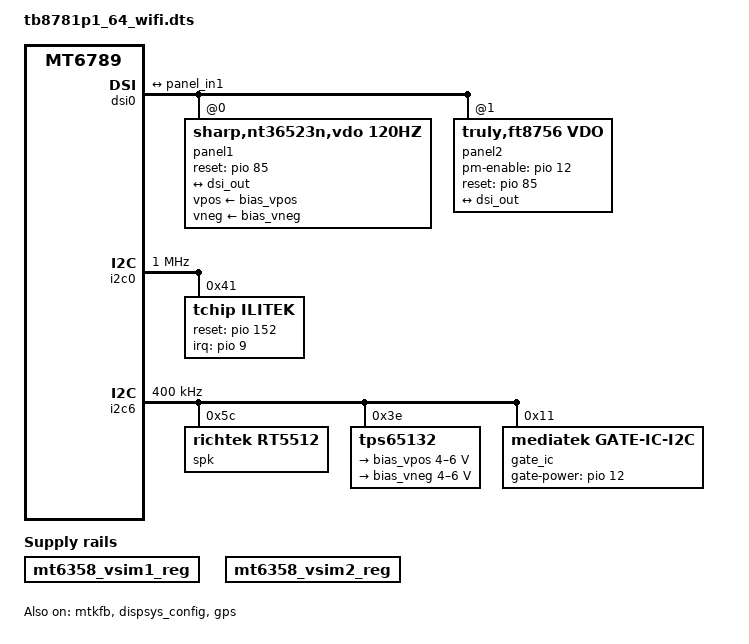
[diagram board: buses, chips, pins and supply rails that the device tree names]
// SPDX-License-Identifier: (GPL-2.0 OR MIT)
/*
 * Copyright (C) 2021 MediaTek Inc.
 */
/dts-v1/;
/plugin/;
#include <dt-bindings/interrupt-controller/arm-gic.h>
#include <dt-bindings/interrupt-controller/irq.h>
#include <dt-bindings/pinctrl/mt6789-pinfunc.h>
#include "mediatek/cust_mt6789_camera.dtsi"
#define ROOT_NODE &odm

ROOT_NODE {
};


&chosen {
};

&android {
	hardware = "mt8781";
};

&soc {
	mtk_leds {
		backlight {
			label = "lcd-backlight";
			max-brightness = <255>;
			max-hw-brightness = <2047>;
		};
	};
};

&pio {
	mtkfb_pins_lcm_led_en1: lcm_led_en1_gpio {
		pins_cmd_dat {
			pinmux = <PINMUX_GPIO12__FUNC_GPIO12>;
			slew-rate = <1>;
			output-high;
		};
	};

	mtkfb_pins_lcm_led_en0: lcm_led_en0_gpio {
		pins_cmd_dat {
			pinmux = <PINMUX_GPIO12__FUNC_GPIO12>;
			slew-rate = <1>;
			output-low;
		};
	};

	mtkfb_pins_lcm_rst_out1_gpio: lcm_rst_out1_gpio {
		pins_cmd_dat {
			pinmux = <PINMUX_GPIO85__FUNC_GPIO85>;
			slew-rate = <1>;
			output-high;
		};
	};

	mtkfb_pins_lcm_rst_out0_gpio: lcm_rst_out0_gpio {
		pins_cmd_dat {
			pinmux = <PINMUX_GPIO85__FUNC_GPIO85>;
			slew-rate = <1>;
			output-low;
		};
	};
	mtkfb_pins_lcm_dsi_te: lcm_dsi_te {
		pins_cmd_dat {
			pinmux = <PINMUX_GPIO83__FUNC_DSI_TE>;
		};
	};
};

&mtkfb {
	pinctrl-names = "lcm_led_en1_gpio", "lcm_led_en0_gpio",
		"lcm_rst_out1_gpio", "lcm_rst_out0_gpio",
		"mode_te_te";
	pinctrl-0 = <&mtkfb_pins_lcm_led_en1>;
	pinctrl-1 = <&mtkfb_pins_lcm_led_en0>;
	pinctrl-2 = <&mtkfb_pins_lcm_rst_out1_gpio>;
	pinctrl-3 = <&mtkfb_pins_lcm_rst_out0_gpio>;
	pinctrl-4 = <&mtkfb_pins_lcm_dsi_te>;
	status = "okay";
};

&dispsys_config {
	pinctrl-names =
		"lcm_rst_out1_gpio", "lcm_rst_out0_gpio",
		"mode_te_te";
	pinctrl-0 = <&mtkfb_pins_lcm_rst_out1_gpio>;
	pinctrl-1 = <&mtkfb_pins_lcm_rst_out0_gpio>;
	pinctrl-2 = <&mtkfb_pins_lcm_dsi_te>;
	status = "okay";
};

&dsi0 {
	status = "okay";
	#address-cells = <1>;
	#size-cells = <0>;
	panel1@0 {
		compatible = "sharp,nt36523n,vdo,120hz";
		reg = <0>;
		// vddi-supply = <&mt6358_vrf18_reg>;
		reset-gpios = <&pio 85 0>;
		vpos-supply = <&bias_vpos>;
		vneg-supply = <&bias_vneg>;
		port {
			panel_in1: endpoint {
				remote-endpoint = <&dsi_out>;
			};
		};
	};
	panel2@0 {
		compatible = "truly,ft8756,vdo";
		reg = <1>;
		pm-enable-gpios = <&pio 12 0>;
		reset-gpios = <&pio 85 0>;
		gate-ic = <4831>;
		pinctrl-names = "default";
		port {
			panel_in2: endpoint {
				remote-endpoint = <&dsi_out>;
			};
		};
	};
	ports {
		port {
			dsi_out: endpoint {
				remote-endpoint = <&panel_in1>;
			};
		};
	};
};

/* GPS GPIO standardization start */
&pio {
	gps_pins_default: gps_default {
	};
	gps_l1_lna_pins_ol: gps_l1_lna@0 {
		pins_cmd_dat {
			pinmux = <PINMUX_GPIO25__FUNC_GPIO25>;
			output-low;
		};
	};
	gps_l1_lna_pins_dsp_ctrl: gps_l1_lna@1 {
		pins_cmd_dat {
			pinmux = <PINMUX_GPIO25__FUNC_GPS_L1_ELNA_EN>;
		};
	};
	gps_l1_lna_pins_oh: gps_l1_lna@2 {
		pins_cmd_dat {
			pinmux = <PINMUX_GPIO25__FUNC_GPIO25>;
			output-high;
		};
	};
	gps_l5_lna_pins_ol: gps_l5_lna@0 {
		pins_cmd_dat {
			pinmux = <PINMUX_GPIO26__FUNC_GPIO26>;
			output-low;
		};
	};
	gps_l5_lna_pins_dsp_ctrl: gps_l5_lna@1 {
		pins_cmd_dat {
			pinmux = <PINMUX_GPIO26__FUNC_GPS_L5_ELNA_EN>;
		};
	};
	gps_l5_lna_pins_oh: gps_l5_lna@2 {
		pins_cmd_dat {
			pinmux = <PINMUX_GPIO26__FUNC_GPIO26>;
			output-high;
		};
	};
};
&gps {
	pinctrl-names = "default",
		"gps_l1_lna_disable",
		"gps_l1_lna_dsp_ctrl",
		"gps_l1_lna_enable",
		"gps_l5_lna_disable",
		"gps_l5_lna_dsp_ctrl",
		"gps_l5_lna_enable";
	pinctrl-0 = <&gps_pins_default>;
	pinctrl-1 = <&gps_l1_lna_pins_ol>;
	pinctrl-2 = <&gps_l1_lna_pins_dsp_ctrl>;
	pinctrl-3 = <&gps_l1_lna_pins_oh>;
	pinctrl-4 = <&gps_l5_lna_pins_ol>;
	pinctrl-5 = <&gps_l5_lna_pins_dsp_ctrl>;
	pinctrl-6 = <&gps_l5_lna_pins_oh>;
	status = "okay";
};
/* GPS GPIO standardization end */

#include "mediatek/cust_mt6789_touch_1080x2400.dtsi"
#include "mediatek/cust_mt6789_camera_v4l2.dtsi"

&pio {
	i2c0_default: i2c0_default {
		/* MUST check this I2C bus schematics design the setup the below configurations */
		pins_cmd_dat {
			pinmux = <PINMUX_GPIO130__FUNC_SCL0>,
				<PINMUX_GPIO131__FUNC_SDA0>;
			// bias-pull-up = <MTK_PUPD_SET_R1R0_11>; /* 0x0=>75k 0x1=>5k 0x2=>15k 0x3=>1k */
			//drive-strength = <MTK_DRIVE_2mA>;
			input-enable;
		};
	};
	i2c0_idle: i2c0_idle {
		/* MUST check this I2C bus schematics design the setup the below configurations */
		pins_cmd_dat {
			pinmux = <PINMUX_GPIO130__FUNC_SCL0>,
				<PINMUX_GPIO131__FUNC_SDA0>;
			// bias-pull-up = <MTK_PUPD_SET_R1R0_00>; /* 0x0=>75k 0x1=>5k 0x2=>15k 0x3=>1k */
		};
	};
	ilitek_pins_default: ilitek_default {
		pins_irq {
			pinmux = <PINMUX_GPIO9__FUNC_GPIO9>;
			bias-pull-up;
			input-enable;
		};
		pins_rst {
			pinmux = <PINMUX_GPIO152__FUNC_GPIO152>;
			output-low;
		};
	};
};

&i2c0 {
	status = "okay";
	// clock-frequency = <400000>;
	clock-frequency = <1000000>;
	pinctrl-names = "default", "idle";
	pinctrl-0 = <&i2c0_default>;
	pinctrl-1 = <&i2c0_idle>;
	// ili2910 reference design i2c has pullup 4.7k
	/* MUST check this I2C bus schematics design the setup 'pinctrl-post-us-delay' */
	//pinctrl-post-us-delay = <1000>;

	ilitek@41 {
		compatible = "tchip,ilitek";
		pinctrl-names = "default";
		pinctrl-0 = <&ilitek_pins_default>;
		reg = <0x41>;
		ilitek,reset-gpio = <&pio 152 0x0>;
		ilitek,irq-gpio = <&pio 9 0x0>;
		interrupt-parent = <&pio>;
		interrupts = <9 IRQ_TYPE_EDGE_FALLING>;
		// wakeup-source;
	};
};

&pio {
	i2c6_pins: i2c6_default {
		pins_cmd_dat {
			pinmux = <PINMUX_GPIO142__FUNC_SCL6>,
				<PINMUX_GPIO143__FUNC_SDA6>;
		};
	};
};

&i2c6 {
	clock-frequency = <400000>;
	pinctrl-names = "default";
	pinctrl-0 = <&i2c6_pins>;

	spk: speaker_amp@5c {
		compatible = "richtek,rt5512";
		#sound-dai-cells = <0>;
		reg = <0x5c>;
		status = "okay";
		sound-name-prefix = "Left";
	};

	tps65132@3e {
		compatible = "tps65132";
		reg = <0x3e>;

		bias_vpos: outp {
			regulator-name = "LCD_AVDD";
			regulator-min-microvolt = <4000000>;
			regulator-max-microvolt = <6000000>;
			enable-gpios = <&pio 32 0>;
			regulator-boot-on;
		};

		bias_vneg: outn {
			regulator-name = "LCD_AVEE";
			regulator-min-microvolt = <4000000>;
			regulator-max-microvolt = <6000000>;
			enable-gpios = <&pio 33 0>;
			regulator-boot-on;
		};
	};
};

&sound {
	mediatek,spk-i2s = <3 0>;
	mediatek,speaker-codec {
		sound-dai = <&spk>;
	};
};

&pdc {
	pd_vbus_upper_bound = <12000000>;
};

&i2c6 {
	gate_ic: gate_ic@11 {
		compatible = "mediatek,gate-ic-i2c";
		gate-power-gpios = <&pio 12 0>;
		reg = <0x11>;
		id = <6>;
		status = "okay";
	};
};

#include "mediatek/cust_mt6789_msdc.dtsi"
#include "mediatek/rt5133.dtsi"

&rt5133 {
	interrupts-extended = <&pio 5 0x0>;
	enable-gpio = <&pio 15 0x0>;
};

&mt6358_vio28_reg {
	regulator-always-on;
};

&mt6358_vdram1_reg {
	regulator-always-on;
};

&mt6358_vdram2_reg {
	regulator-always-on;
};

&mt6358_vbif28_reg {
	regulator-always-on;
};

&mt6358_vaux18_reg {
	regulator-always-on;
};

&mt6358_vsim1_reg {
	regulator-min-microvolt = <0>;
};

&mt6358_vsim2_reg {
	regulator-min-microvolt = <0>;
};

#include <tb8781p1_64_wifi/cust.dtsi>
/*End of this file, DO NOT ADD ANYTHING HERE*/
